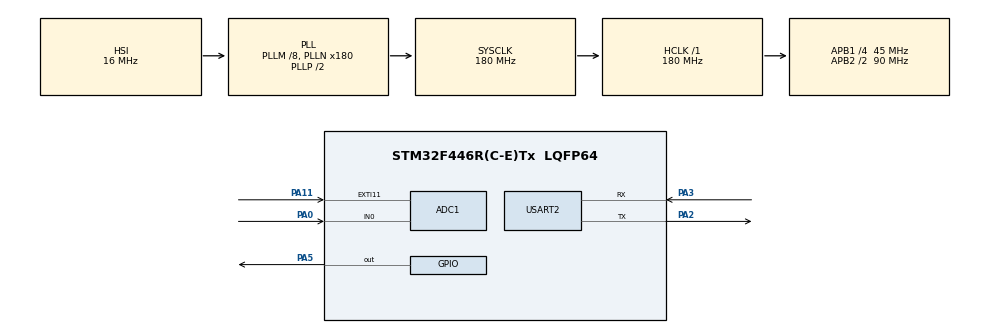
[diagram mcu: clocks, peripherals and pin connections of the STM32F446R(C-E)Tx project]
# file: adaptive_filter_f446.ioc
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ADC1.Channel-2\#ChannelRegularConversion=ADC_CHANNEL_0
ADC1.ExternalTrigConvEdge=ADC_EXTERNALTRIGCONVEDGE_RISING
ADC1.NbrOfConversion=1
ADC1.NbrOfConversionFlag=1
ADC1.Rank-2\#ChannelRegularConversion=1
ADC1.SamplingTime-2\#ChannelRegularConversion=ADC_SAMPLETIME_3CYCLES
ADC1.master=1
Dma.ADC1.0.Direction=DMA_PERIPH_TO_MEMORY
Dma.ADC1.0.FIFOMode=DMA_FIFOMODE_DISABLE
Dma.ADC1.0.Instance=DMA2_Stream0
Dma.ADC1.0.MemDataAlignment=DMA_MDATAALIGN_HALFWORD
Dma.ADC1.0.MemInc=DMA_MINC_ENABLE
Dma.ADC1.0.Mode=DMA_CIRCULAR
Dma.ADC1.0.PeriphDataAlignment=DMA_PDATAALIGN_HALFWORD
Dma.ADC1.0.PeriphInc=DMA_PINC_DISABLE
Dma.ADC1.0.Priority=DMA_PRIORITY_LOW
Dma.Request0=ADC1
Mcu.Family=STM32F4
Mcu.Name=STM32F446R(C-E)Tx
Mcu.Package=LQFP64
NVIC.DMA2_Stream0_IRQn=true\:0\:0\:false\:false\:true\:false\:true\:true
NVIC.PriorityGroup=NVIC_PRIORITYGROUP_4
NVIC.TIM2_IRQn=true\:0\:0\:false\:false\:true\:true\:true\:true
PA0-WKUP.Signal=ADCx_IN0
PA11.Signal=GPXTI11
PA2.Mode=Asynchronous
PA2.Signal=USART2_TX
PA3.Mode=Asynchronous
PA3.Signal=USART2_RX
PA5.Signal=GPIO_Output
PH0-OSC_IN.Mode=HSE-External-Oscillator
PH0-OSC_IN.Signal=RCC_OSC_IN
PH1-OSC_OUT.Mode=HSE-External-Oscillator
PH1-OSC_OUT.Signal=RCC_OSC_OUT
ProjectManager.HeapSize=0x200
ProjectManager.StackSize=0x400
ProjectManager.TargetToolchain=STM32CubeIDE
RCC.AHBFreq_Value=180000000
RCC.APB1CLKDivider=RCC_HCLK_DIV4
RCC.APB1Freq_Value=45000000
RCC.APB1TimFreq_Value=90000000
RCC.APB2CLKDivider=RCC_HCLK_DIV2
RCC.APB2Freq_Value=90000000
RCC.APB2TimFreq_Value=180000000
RCC.CortexFreq_Value=180000000
RCC.HCLKFreq_Value=180000000
RCC.HSE_VALUE=25000000
RCC.PLLM=8
RCC.PLLN=180
RCC.SYSCLKFreq_VALUE=180000000
RCC.SYSCLKSource=RCC_SYSCLKSOURCE_PLLCLK
RCC.USBFreq_Value=180000000
RCC.VCOOutputFreq_Value=360000000
SH.ADCx_IN0.0=ADC1_IN0,IN0
TIM2.Period=124
TIM2.Prescaler=89
TIM2.TIM_MasterOutputTrigger=TIM_TRGO_UPDATE
TIM2.TIM_MasterSlaveMode=TIM_MASTERSLAVEMODE_ENABLE
USART2.VirtualMode=VM_ASYNC
VP_TIM2_VS_ClockSourceINT.Mode=Internal
board=custom

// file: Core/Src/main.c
/* USER CODE BEGIN Header */
/**
  ******************************************************************************
  * @file           : main.c
  * @brief          : Main program body
  ******************************************************************************
  * @attention
  *
  * Copyright (c) 2025 STMicroelectronics.
  * All rights reserved.
  *
  * This software is licensed under terms that can be found in the LICENSE file
  * in the root directory of this software component.
  * If no LICENSE file comes with this software, it is provided AS-IS.
  *
  ******************************************************************************
  */
/* USER CODE END Header */
#include "main.h"
#include "adc.h"
#include "dma.h"
#include "tim.h"
#include "usart.h"
#include "gpio.h"

/* USER CODE BEGIN Includes */
#include "arm_math.h"
#include "dsp/filtering_functions.h"
#include <stdio.h>
#include <string.h>

/* USER CODE END Includes */

/* USER CODE BEGIN PV */
// NLMS parameters
#define BUFFER_SIZE   256
#define BLOCK_SIZE    (BUFFER_SIZE/2)
#define NUM_TAPS      128
#define MU            0.05f

//testing for ADC buffer being filled through DMA
#define BUFFER_SIZE      256                // total DMA buffer size (must be even for half-buffer)
volatile uint16_t adc_buffer[BUFFER_SIZE];   // DMA destination (static/global)
volatile uint8_t adc_half_ready = 0;
volatile uint8_t adc_full_ready = 0;

#define VREF             3.3f
#define ADC_MAX          4095.0f

//initializing test filter
/*
arm_fir_instance_f32 S;
float32_t state[32 + 64];
const float32_t coeffs[32];
arm_fir_init_f32(&S, 32, coeffs, state, 64);
*/

/* CMSIS-DSP NLMS instance */
arm_lms_norm_instance_f32 nlms;

/* Filter state */
static float32_t coeffs[NUM_TAPS];
static float32_t state[NUM_TAPS + BLOCK_SIZE];

/* Processing buffers */
static float32_t proc_ref[BLOCK_SIZE];  // reference noise input
static float32_t proc_des[BLOCK_SIZE];  // desired (speech+noise) input
static float32_t proc_out[BLOCK_SIZE];  // estimated noise output
static float32_t proc_err[BLOCK_SIZE];  // error (clean speech)
/* USER CODE END PV */

void SystemClock_Config(void);

/* USER CODE BEGIN 0 */
static inline void convert_adc_block_to_float(const uint16_t *src, float32_t *dst, uint32_t len)
{
    for (uint32_t i = 0; i < len; i++) {
        dst[i] = ((float32_t)src[i] / 4095.0f) * 2.0f - 1.0f; // normalize to [-1,1]
    }
}

static void process_block(uint16_t *src_adc)
{
    /* For now, demo assumes single ADC channel.
       In practice: one channel = desired mic, one = reference mic.
       Replace this with proper channel splitting if using dual ADC or I2S codec. */
    convert_adc_block_to_float(src_adc, proc_des, BLOCK_SIZE);
    convert_adc_block_to_float(src_adc, proc_ref, BLOCK_SIZE);

    /* Run NLMS filtering */
    arm_lms_norm_f32(&nlms, proc_ref, proc_des, proc_out, proc_err, BLOCK_SIZE);

    /* Debug: print first sample of error */
    printf("err[0]=%f\r\n", proc_err[0]);
}
/* USER CODE END 0 */

int main(void)
{

  /* MCU Configuration--------------------------------------------------------*/

  /* Reset of all peripherals, Initializes the Flash interface and the Systick. */
  HAL_Init();

  /* Configure the system clock */
  SystemClock_Config();

  /* Initialize all configured peripherals */
  MX_GPIO_Init();
  MX_DMA_Init();
  MX_USART2_UART_Init();
  MX_ADC1_Init();
  MX_TIM2_Init();
  /* USER CODE BEGIN 2 */
  HAL_TIM_Base_Start_IT(&htim2);
  printf("HCLK = %lu Hz\r\n", HAL_RCC_GetHCLKFreq());

  /*
  //testing to convert ADC buffer into voltages for DSP processing (filtering)
  float adc_volt[BUFFER_SIZE];
  for (int i = 0; i < BUFFER_SIZE; i++) {
      adc_volt[i] = (adc_buffer[i] / ADC_MAX) * VREF;
      printf("adc_volt[i]: %d\r\n", (uint8_t)adc_volt[i]);
  }
  */  /* Initialize NLMS */
  memset(coeffs, 0, sizeof(coeffs));
  arm_lms_norm_init_f32(&nlms, NUM_TAPS, coeffs, state, MU, BLOCK_SIZE);

  /* Start ADC DMA */
  if (HAL_ADC_Start_DMA(&hadc1, (uint32_t*)adc_buffer, BUFFER_SIZE) != HAL_OK) {
      Error_Handler();
  }

  printf("NLMS initialized: taps=%d, mu=%.3f, block=%d\r\n", NUM_TAPS, MU, BLOCK_SIZE);

  /* USER CODE END 2 */

  /* Infinite loop */
  while (1)
  {

    /* USER CODE BEGIN 3 */
	/*if (toggling_flag) {
		printf("GPIO_PIN_5 toggled\r\n");
		toggling_flag = 0;
		break;
	}*/
	if (adc_half_ready) {
		adc_half_ready = 0;
		process_block((uint16_t*)&adc_buffer[0]);
	}
	if (adc_full_ready) {
		adc_full_ready = 0;
		process_block((uint16_t*)&adc_buffer[BLOCK_SIZE]);
	}

  }
  /* USER CODE END 3 */
}

void SystemClock_Config(void)
{
  RCC_OscInitTypeDef RCC_OscInitStruct = {0};
  RCC_ClkInitTypeDef RCC_ClkInitStruct = {0};

  /** Configure the main internal regulator output voltage
  */
  __HAL_RCC_PWR_CLK_ENABLE();
  __HAL_PWR_VOLTAGESCALING_CONFIG(PWR_REGULATOR_VOLTAGE_SCALE1);

  /** Initializes the RCC Oscillators according to the specified parameters
  * in the RCC_OscInitTypeDef structure.
  */
  RCC_OscInitStruct.OscillatorType = RCC_OSCILLATORTYPE_HSI;
  RCC_OscInitStruct.HSIState = RCC_HSI_ON;
  RCC_OscInitStruct.HSICalibrationValue = RCC_HSICALIBRATION_DEFAULT;
  RCC_OscInitStruct.PLL.PLLState = RCC_PLL_ON;
  RCC_OscInitStruct.PLL.PLLSource = RCC_PLLSOURCE_HSI;
  RCC_OscInitStruct.PLL.PLLM = 8;
  RCC_OscInitStruct.PLL.PLLN = 180;
  RCC_OscInitStruct.PLL.PLLP = RCC_PLLP_DIV2;
  RCC_OscInitStruct.PLL.PLLQ = 2;
  RCC_OscInitStruct.PLL.PLLR = 2;
  if (HAL_RCC_OscConfig(&RCC_OscInitStruct) != HAL_OK)
  {
    Error_Handler();
  }

  /** Activate the Over-Drive mode
  */
  if (HAL_PWREx_EnableOverDrive() != HAL_OK)
  {
    Error_Handler();
  }

  /** Initializes the CPU, AHB and APB buses clocks
  */
  RCC_ClkInitStruct.ClockType = RCC_CLOCKTYPE_HCLK|RCC_CLOCKTYPE_SYSCLK
                              |RCC_CLOCKTYPE_PCLK1|RCC_CLOCKTYPE_PCLK2;
  RCC_ClkInitStruct.SYSCLKSource = RCC_SYSCLKSOURCE_PLLCLK;
  RCC_ClkInitStruct.AHBCLKDivider = RCC_SYSCLK_DIV1;
  RCC_ClkInitStruct.APB1CLKDivider = RCC_HCLK_DIV4;
  RCC_ClkInitStruct.APB2CLKDivider = RCC_HCLK_DIV2;

  if (HAL_RCC_ClockConfig(&RCC_ClkInitStruct, FLASH_LATENCY_5) != HAL_OK)
  {
    Error_Handler();
  }
}

/* USER CODE BEGIN 4 */
void HAL_TIM_PeriodElapsedCallback(TIM_HandleTypeDef *htim)
{
    if (htim->Instance == TIM2)   // Check if it's TIM2
    {
        HAL_GPIO_TogglePin(GPIOA, GPIO_PIN_5);  // Toggle NUCLEO LED for test
    }
}
void HAL_ADC_ConvHalfCpltCallback(ADC_HandleTypeDef* hadc)
{
    if (hadc->Instance == ADC1) adc_half_ready = 1;
}
void HAL_ADC_ConvCpltCallback(ADC_HandleTypeDef* hadc)
{
    if (hadc->Instance == ADC1) adc_full_ready = 1;
}
/* USER CODE END 4 */

void Error_Handler(void)
{
  __disable_irq();
  while (1)
  {
  }
}
